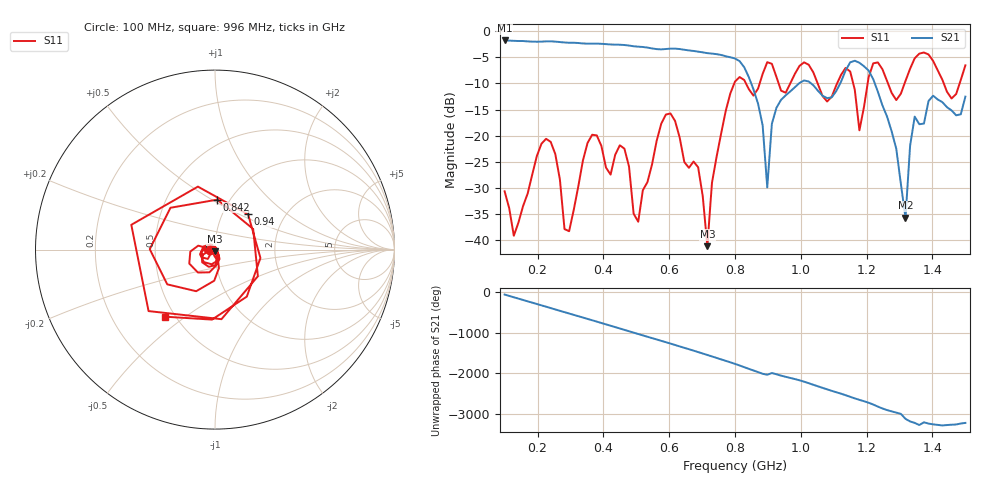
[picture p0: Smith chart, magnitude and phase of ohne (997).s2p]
! NanoVNA-App
! Date: 2025-09-25 14:28:33
! Start: 100MHz Stop: 1,5GHz Points: 101
! S-Parameter data: F S11 S21 S12 S22
# Hz S RI R 50
!  Frequency  S11_Real  S11_Imag  S21_Real  S21_Imag  S12_Real  S12_Imag  S22_Real  S22_Imag
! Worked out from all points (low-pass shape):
!   101 points, 100 MHz to 1.5 GHz, reference 50 ohm
!   highest |S21| = -1.79 dB at 100 MHz (marker M1); lowest = -35.7 dB at 1.318 GHz (marker M2)
!   |S21| within 3 dB of the highest: start of sweep to 770.9 MHz
!   lowest |S11| = -41.1 dB at 716 MHz (marker M3), VSWR 1.02, Z = 49.8 - j0.852 ohm
!   |S11| at or under -10 dB: start of sweep to 797.8 MHz; 833.2 MHz to 875 MHz (41.87 MHz wide, 4.9 % of centre); 1.051 GHz to 1.11 GHz (59.23 MHz wide, 5.48 % of centre) (the widest 3 of 7)
!   S12 and S22 are empty: the file has one direction only
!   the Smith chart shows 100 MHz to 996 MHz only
!   S11 on the Smith chart (normalised r, x): 100 MHz: 0.94, -0.01; 842 MHz: 0.88, +0.53; 940 MHz: 1.32, +0.56; 996 MHz: 0.44, -0.42
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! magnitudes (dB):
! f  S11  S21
! 100 MHz  -30.6  -1.8
! 128 MHz  -39.1  -1.9
! 226 MHz  -20.6  -2.0
! 296 MHz  -38.3  -2.2
! 338 MHz  -24.7  -2.4
! 464 MHz  -22.5  -2.7
! 506 MHz  -36.5  -3.0
! 576 MHz  -17.7  -3.5
! 688 MHz  -26.0  -3.9
! 716 MHz  -41.1  -4.2
! 800 MHz  -9.7  -5.2
! 842 MHz  -11.1  -8.8
! 898 MHz  -5.9  -29.9
! 940 MHz  -11.4  -13.1
! 996 MHz  -6.7  -9.9
! 1.038 GHz  -7.9  -10.4
! 1.178 GHz  -19.0  -6.1
! 1.22 GHz  -6.2  -9.2
! 1.276 GHz  -11.8  -19.2
! 1.318 GHz  -9.5  -35.7
! 1.346 GHz  -5.2  -16.4
! 1.5 GHz  -6.6  -12.5
